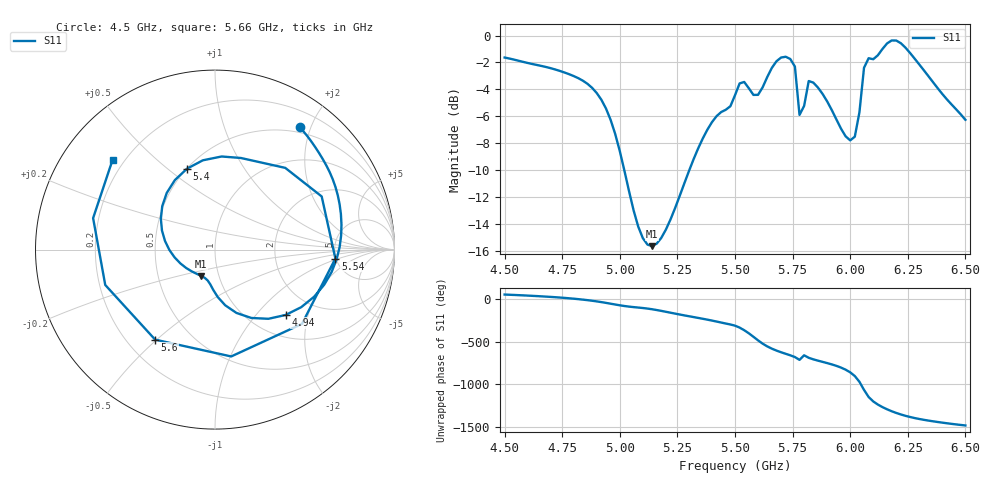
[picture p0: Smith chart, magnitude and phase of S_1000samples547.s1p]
! TOUCHSTONE file generated by CST MICROWAVE STUDIO
! Date and time: Fri Oct 28 13:23:11 2022
! Project name: L.cst
! Parameters = {Di=1.27; Epsilon_r=1.56; InnerDiameter=1.27; Length=2; Lf=10; Lg=60; OuterConductorThickness=0.2921; OuterDiameter=3.6; Wf=3; Wp=41.2; de=1.5; df=6.8; g=0.8; gx=1.74262; gy=1.21127; h=2.34; hf=1.524; px=10.7105; py=14.3579; w=9.7; wx=8.96785; wy=13.1466}
! Header version: 2018
! Port assignment regex: !\s*Touchstone port\s*([0-9]+)\s*=\s*(CST MWS port|CST DS port)\s*([0-9]+|Zmin|Zmax)\s*\(\"(.*)\"\)(\s*mode\s*([0-9]+))?.*
! Touchstone port assignment:
! Touchstone port 1 = CST MWS port 1 ("")
# GHz S DB R 50
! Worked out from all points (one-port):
!   101 points, 4.5 GHz to 6.5 GHz, reference 50 ohm
!   lowest |S11| = -15.6 dB at 5.14 GHz (marker M1), VSWR 1.40, Z = 41.2 - j12.4 ohm
!   |S11| at or under -10 dB: 5.02 GHz to 5.301 GHz (281.8 MHz wide, 5.46 % of centre)
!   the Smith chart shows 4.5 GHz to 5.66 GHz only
!   S11 on the Smith chart (normalised r, x): 4.5 GHz: 0.42, +1.84; 4.94 GHz: 1.42, -1.45; 5.4 GHz: 0.50, +0.59; 5.54 GHz: 4.94, -0.90; 5.6 GHz: 0.31, -0.49; 5.66 GHz: 0.16, +0.37
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4.5  -1.63 55.2
4.76  -2.75 15.8
4.94  -5.42 -42.8
5  -8.58 -71.3
5.14  -15.63 -117.6
5.26  -11.90 -179.5
5.4  -6.43 109.1
5.5  -4.43 49.3
5.54  -3.45 -4.2
5.58  -4.41 -81.4
5.6  -4.40 -123.6
5.66  -2.40 138.8
5.7  -1.64 96.5
5.76  -2.30 40.2
5.78  -5.89 6.9
5.8  -5.23 60.9
5.82  -3.38 31.4
5.88  -4.33 -16.4
6  -7.78 -139.5
6.04  -5.71 109.6
6.06  -2.39 13.9
6.08  -1.68 -69.6
6.1  -1.76 -121.6
6.14  -1.00 171.7
6.2  -0.37 102.7
6.26  -1.30 55.1
6.34  -3.03 12.8
6.5  -6.25 -44.3
